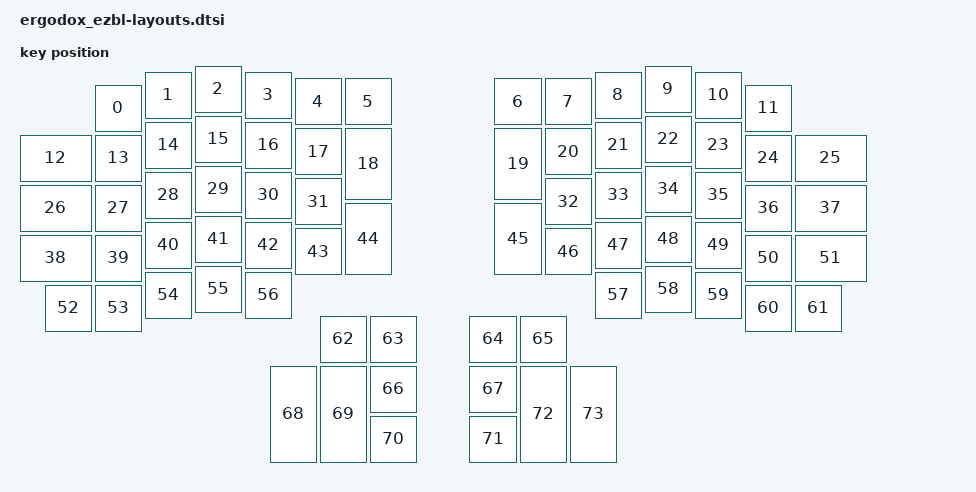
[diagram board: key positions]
#include <physical_layouts.dtsi>

/ {
    physical_layout0: physical_layout_0 {
        compatible = "zmk,physical-layout";
        display-name = "Default";

        kscan = <&kscan0>;
        transform = <&default_transform>;

        keys  //                     w   h    x    y     rot    rx    ry
            = <&key_physical_attrs 100 100  150   38       0     0     0>
            , <&key_physical_attrs 100 100  250   12       0     0     0>
            , <&key_physical_attrs 100 100  350    0       0     0     0>
            , <&key_physical_attrs 100 100  450   12       0     0     0>
            , <&key_physical_attrs 100 100  550   25       0     0     0>
            , <&key_physical_attrs 100 100  650   25       0     0     0>
            , <&key_physical_attrs 100 100  950   25       0     0     0>
            , <&key_physical_attrs 100 100 1050   25       0     0     0>
            , <&key_physical_attrs 100 100 1150   12       0     0     0>
            , <&key_physical_attrs 100 100 1250    0       0     0     0>
            , <&key_physical_attrs 100 100 1350   12       0     0     0>
            , <&key_physical_attrs 100 100 1450   38       0     0     0>
            , <&key_physical_attrs 150 100    0  138       0     0     0>
            , <&key_physical_attrs 100 100  150  138       0     0     0>
            , <&key_physical_attrs 100 100  250  112       0     0     0>
            , <&key_physical_attrs 100 100  350  100       0     0     0>
            , <&key_physical_attrs 100 100  450  112       0     0     0>
            , <&key_physical_attrs 100 100  550  125       0     0     0>
            , <&key_physical_attrs 100 150  650  125       0     0     0>
            , <&key_physical_attrs 100 150  950  125       0     0     0>
            , <&key_physical_attrs 100 100 1050  125       0     0     0>
            , <&key_physical_attrs 100 100 1150  112       0     0     0>
            , <&key_physical_attrs 100 100 1250  100       0     0     0>
            , <&key_physical_attrs 100 100 1350  112       0     0     0>
            , <&key_physical_attrs 100 100 1450  138       0     0     0>
            , <&key_physical_attrs 150 100 1550  138       0     0     0>
            , <&key_physical_attrs 150 100    0  238       0     0     0>
            , <&key_physical_attrs 100 100  150  238       0     0     0>
            , <&key_physical_attrs 100 100  250  212       0     0     0>
            , <&key_physical_attrs 100 100  350  200       0     0     0>
            , <&key_physical_attrs 100 100  450  212       0     0     0>
            , <&key_physical_attrs 100 100  550  225       0     0     0>
            , <&key_physical_attrs 100 100 1050  225       0     0     0>
            , <&key_physical_attrs 100 100 1150  212       0     0     0>
            , <&key_physical_attrs 100 100 1250  200       0     0     0>
            , <&key_physical_attrs 100 100 1350  212       0     0     0>
            , <&key_physical_attrs 100 100 1450  238       0     0     0>
            , <&key_physical_attrs 150 100 1550  238       0     0     0>
            , <&key_physical_attrs 150 100    0  338       0     0     0>
            , <&key_physical_attrs 100 100  150  338       0     0     0>
            , <&key_physical_attrs 100 100  250  312       0     0     0>
            , <&key_physical_attrs 100 100  350  300       0     0     0>
            , <&key_physical_attrs 100 100  450  312       0     0     0>
            , <&key_physical_attrs 100 100  550  325       0     0     0>
            , <&key_physical_attrs 100 150  650  275       0     0     0>
            , <&key_physical_attrs 100 150  950  275       0     0     0>
            , <&key_physical_attrs 100 100 1050  325       0     0     0>
            , <&key_physical_attrs 100 100 1150  312       0     0     0>
            , <&key_physical_attrs 100 100 1250  300       0     0     0>
            , <&key_physical_attrs 100 100 1350  312       0     0     0>
            , <&key_physical_attrs 100 100 1450  338       0     0     0>
            , <&key_physical_attrs 150 100 1550  338       0     0     0>
            , <&key_physical_attrs 100 100   50  438       0     0     0>
            , <&key_physical_attrs 100 100  150  438       0     0     0>
            , <&key_physical_attrs 100 100  250  412       0     0     0>
            , <&key_physical_attrs 100 100  350  400       0     0     0>
            , <&key_physical_attrs 100 100  450  412       0     0     0>
            , <&key_physical_attrs 100 100 1150  412       0     0     0>
            , <&key_physical_attrs 100 100 1250  400       0     0     0>
            , <&key_physical_attrs 100 100 1350  412       0     0     0>
            , <&key_physical_attrs 100 100 1450  438       0     0     0>
            , <&key_physical_attrs 100 100 1550  438       0     0     0>
            , <&key_physical_attrs 100 100  600  500       0     0     0>
            , <&key_physical_attrs 100 100  700  500       0     0     0>
            , <&key_physical_attrs 100 100  900  500       0     0     0>
            , <&key_physical_attrs 100 100 1000  500       0     0     0>
            , <&key_physical_attrs 100 100  700  600       0     0     0>
            , <&key_physical_attrs 100 100  900  600       0     0     0>
            , <&key_physical_attrs 100 200  500  600       0     0     0>
            , <&key_physical_attrs 100 200  600  600       0     0     0>
            , <&key_physical_attrs 100 100  700  700       0     0     0>
            , <&key_physical_attrs 100 100  900  700       0     0     0>
            , <&key_physical_attrs 100 200 1000  600       0     0     0>
            , <&key_physical_attrs 100 200 1100  600       0     0     0>
            ;
    };
};
